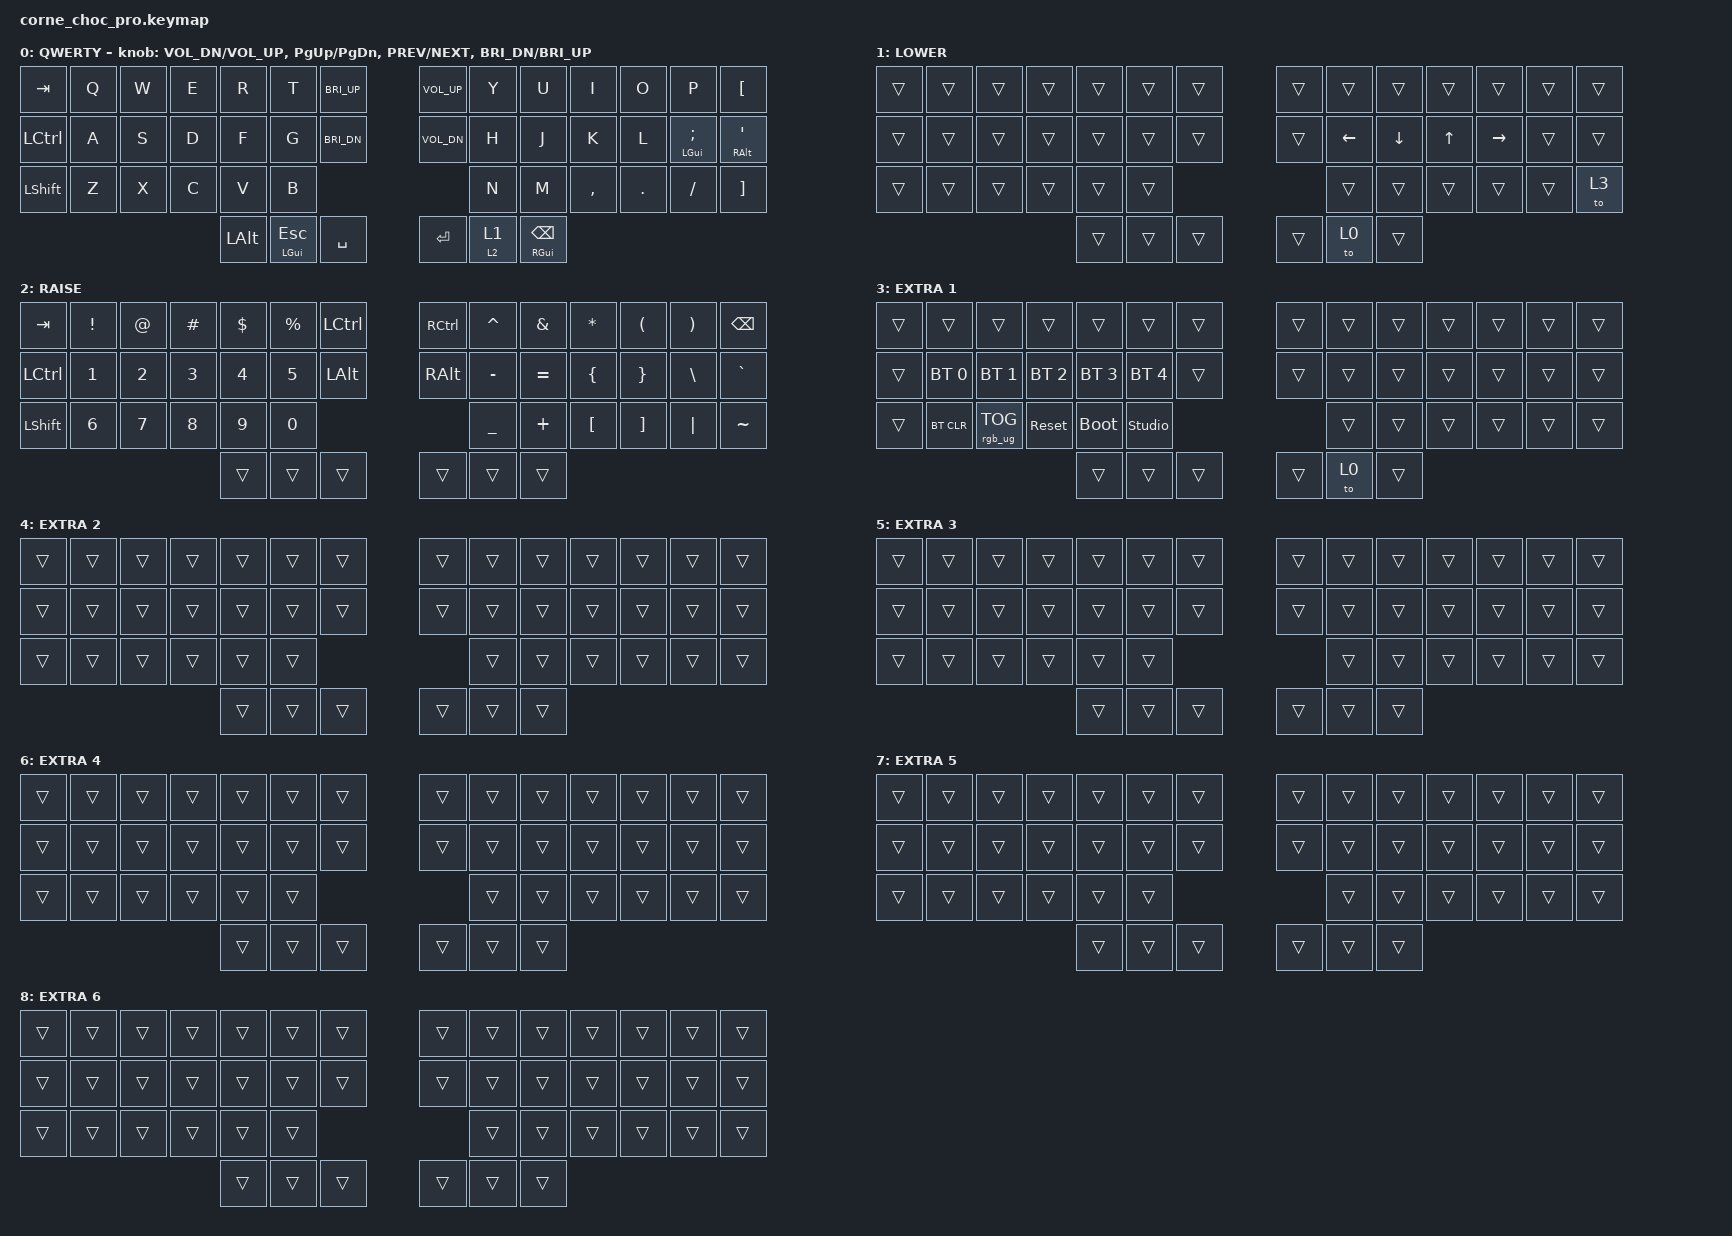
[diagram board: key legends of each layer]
/*
 * Copyright (c) 2020 The ZMK Contributors
 *
 * SPDX-License-Identifier: MIT
 */

#include <behaviors.dtsi>
#include <dt-bindings/zmk/keys.h>
#include <dt-bindings/zmk/bt.h>
#include <dt-bindings/zmk/rgb.h>

/ {
    chosen {
        zmk,physical-layout = &default_layout;
    };
};

/ {
    behaviors {
        u_mt: u_mod_tap {
            compatible = "zmk,behavior-hold-tap";
            #binding-cells = <2>;
            tapping-term-ms = <200>;
            flavor = "tap-preferred";
            bindings = <&kp>, <&kp>;
            display-name = "Mod Tap Key";

        };

        u_mt_h: u_mod_tap_h {
            compatible = "zmk,behavior-hold-tap";
            #binding-cells = <2>;
            tapping-term-ms = <200>;
            flavor = "hold-preferred";
            bindings = <&kp>, <&kp>;
            display-name = "Mod Tap Key (Hold Preferred)";

        };

        l_mt: l_mod_tap {
            compatible = "zmk,behavior-hold-tap";
            #binding-cells = <2>;
            tapping-term-ms = <200>;
            flavor = "tap-preferred";
            bindings = <&mo>, <&to>;
            display-name = "Mod Tap Layer";
        };

        l_mt_h: l_mod_tap_hold {
            compatible = "zmk,behavior-hold-tap";
            #binding-cells = <2>;
            tapping-term-ms = <200>;
            flavor = "hold-preferred";
            bindings = <&mo>, <&to>;
            display-name = "Mod Tap Layer (Hold Preferred)";
        };
    };
};

/ {
    keymap {
        compatible = "zmk,keymap";

        default_layer {
            display-name = "QWERTY";
            // --------------------------------------------------------------------------------
            // | TAB   |  Q  |  W  |  E  |  R  |  T  |  C_BRI_UP |  C_VOL_UP  |  Y  |  U   |  I   |  O  |  P        | [      |
            // | CTRL  |  A  |  S  |  D  |  F  |  G  |  C_BRI_DN |  C_VOL_DN  |  H  |  J   |  K   |  L  |  LGUID/;  | RALT/' |
            // | SHFT  |  Z  |  X  |  C  |  V  |  B  |                        |  N  |  M   |  ,   |  .  |  /  | ]   |
            //                     | LALT | LGUI/ESC | SPC |            | ENT | 2/1 | RGUI/BSPC |
            bindings = <
                &kp TAB   &kp Q &kp W &kp E &kp R &kp T &kp C_BRI_UP   &kp C_VOL_UP &kp Y &kp U  &kp I  &kp O  &kp P &kp LBKT
                &kp LCTRL &kp A &kp S &kp D &kp F &kp G &kp C_BRI_DN   &kp C_VOL_DN &kp H &kp J  &kp K  &kp L  &u_mt LGUI SEMI &u_mt RALT SQT
                &kp LSHFT &kp Z &kp X &kp C &kp V &kp B                             &kp N &kp M  &kp COMMA &kp DOT &kp FSLH &kp RBKT
                     &kp LALT &u_mt_h LGUI ESC &kp SPACE             &kp RET &l_mt_h 2 1 &u_mt RGUI BSPC
            >;
            sensor-bindings = <&inc_dec_kp C_VOL_DN C_VOL_UP &inc_dec_kp PG_UP PG_DN &inc_dec_kp C_PREV C_NEXT &inc_dec_kp C_BRI_DN C_BRI_UP>;
        };

        lower_layer {
            display-name = "LOWER";
            // -----------------------------------------------------------------------------------------
            // |     |     |     |     |     |     |      |     |     |      |     |     |     |      |
            // |     |     |     |     |     |     |      |     | LFT | DWN  |  UP | RGT |     |      |
            // |     |     |     |     |     |     |      |     |     |      |     |     |     | to 3 |
            //                   |     |     |     |            |     | to 0 |     |
            bindings = <
                &trans &trans &trans &trans &trans &trans &trans    &trans &trans &trans &trans &trans &trans &trans
                &trans &trans &trans &trans &trans &trans &trans    &trans &kp LEFT &kp DOWN &kp UP &kp RIGHT &trans &trans
                &trans &trans &trans &trans &trans &trans                   &trans   &trans   &trans &trans &trans &to 3
                                             &trans &trans &trans       &trans &to 0 &trans
            >;
        };

        raise_layer {
            display-name = "RAISE";
            // -----------------------------------------------------------------------------------------
            // |  TAB |  !  |  @  |  #  |  $  |  %  | LCTRL | RCTRL |  ^  |  &  |  *  |  (  |  )  | BSPC |
            // | CTRL |  1  |  2  |  3  |  4  |  5  |  LALT | RALT  |  -  |  =  |  {  |  }  |  \  |  `   |
            // | SHFT |  6  |  7  |  8  |  9  |  0  |               |  _  |  +  |  [  |  ]  | "|" |  ~   |
            //                    |     |     |     |               |     |     |     |
            bindings = <
                &kp  TAB  &kp EXCL &kp AT &kp HASH &kp DLLR &kp PRCNT &kp LCTRL &kp RCTRL &kp CARET &kp AMPS &kp ASTRK &kp LPAR &kp RPAR &kp BSPC
                &kp LCTRL &kp N1   &kp N2 &kp N3   &kp N4   &kp N5    &kp LALT  &kp RALT  &kp MINUS &kp EQUAL &kp LBRC &kp RBRC &kp BSLH &kp GRAVE
                &kp LSHFT &kp N6   &kp N7 &kp N8   &kp N9   &kp N0                        &kp UNDER &kp PLUS  &kp LBKT &kp RBKT &kp PIPE &kp TILDE
                                          &trans &trans  &trans                     &trans &trans  &trans
            >;
        };

        extra_layer_1 {
            display-name = "EXTRA 1";
            // -----------------------------------------------------------------------------------------
            // |    |     |     |     |     |       |     |   |     |     |     |     |     |      |
            // |    | BT1 | BT2 | BT3 | BT4 | BT5   |     |   |     |     |     |     |     |      |
            // |    | BTCR| RGB | RST | BOOT| Unlock|         |     |     |     |     |     |     |      |
            //                    |    |    |      |          |     |to 0 |     |
            bindings = <
                &trans  &trans       &trans          &trans       &trans       &trans       &trans &trans &trans   &trans   &trans &trans    &trans &trans
                &trans  &bt BT_SEL 0 &bt BT_SEL 1    &bt BT_SEL 2 &bt BT_SEL 3 &bt BT_SEL 4 &trans  &trans  &trans &trans &trans &trans &trans &trans
                &trans  &bt BT_CLR   &rgb_ug RGB_TOG &sys_reset   &bootloader  &studio_unlock                   &trans   &trans   &trans &trans    &trans &trans
                                                                          &trans &trans &trans               &trans &to 0 &trans
            >;
        };

        extra_layer_2 {
            display-name = "EXTRA 2";
            bindings = <
                &trans &trans &trans &trans &trans &trans &trans &trans &trans &trans &trans &trans &trans &trans
                &trans &trans &trans &trans &trans &trans &trans &trans &trans &trans &trans &trans &trans &trans
                &trans &trans &trans &trans &trans &trans               &trans &trans &trans &trans &trans &trans
                                     &trans &trans &trans               &trans &trans &trans       
            >;
        };

        extra_layer_3 {
            display-name = "EXTRA 3";
            bindings = <
                &trans &trans &trans &trans &trans &trans &trans &trans &trans &trans &trans &trans &trans &trans
                &trans &trans &trans &trans &trans &trans &trans &trans &trans &trans &trans &trans &trans &trans
                &trans &trans &trans &trans &trans &trans               &trans &trans &trans &trans &trans &trans
                                     &trans &trans &trans               &trans &trans &trans       
            >;
        };

        extra_layer_4 {
            display-name = "EXTRA 4";
            bindings = <
                &trans &trans &trans &trans &trans &trans &trans &trans &trans &trans &trans &trans &trans &trans
                &trans &trans &trans &trans &trans &trans &trans &trans &trans &trans &trans &trans &trans &trans
                &trans &trans &trans &trans &trans &trans               &trans &trans &trans &trans &trans &trans
                                     &trans &trans &trans               &trans &trans &trans       
            >;
        };

        extra_layer_5 {
            display-name = "EXTRA 5";
            bindings = <
                &trans &trans &trans &trans &trans &trans &trans &trans &trans &trans &trans &trans &trans &trans
                &trans &trans &trans &trans &trans &trans &trans &trans &trans &trans &trans &trans &trans &trans
                &trans &trans &trans &trans &trans &trans               &trans &trans &trans &trans &trans &trans
                                     &trans &trans &trans               &trans &trans &trans       
            >;
        };

        extra_layer_6 {
            display-name = "EXTRA 6";
            bindings = <
                &trans &trans &trans &trans &trans &trans &trans &trans &trans &trans &trans &trans &trans &trans
                &trans &trans &trans &trans &trans &trans &trans &trans &trans &trans &trans &trans &trans &trans
                &trans &trans &trans &trans &trans &trans               &trans &trans &trans &trans &trans &trans
                                     &trans &trans &trans               &trans &trans &trans       
            >;
        };
    };
};
